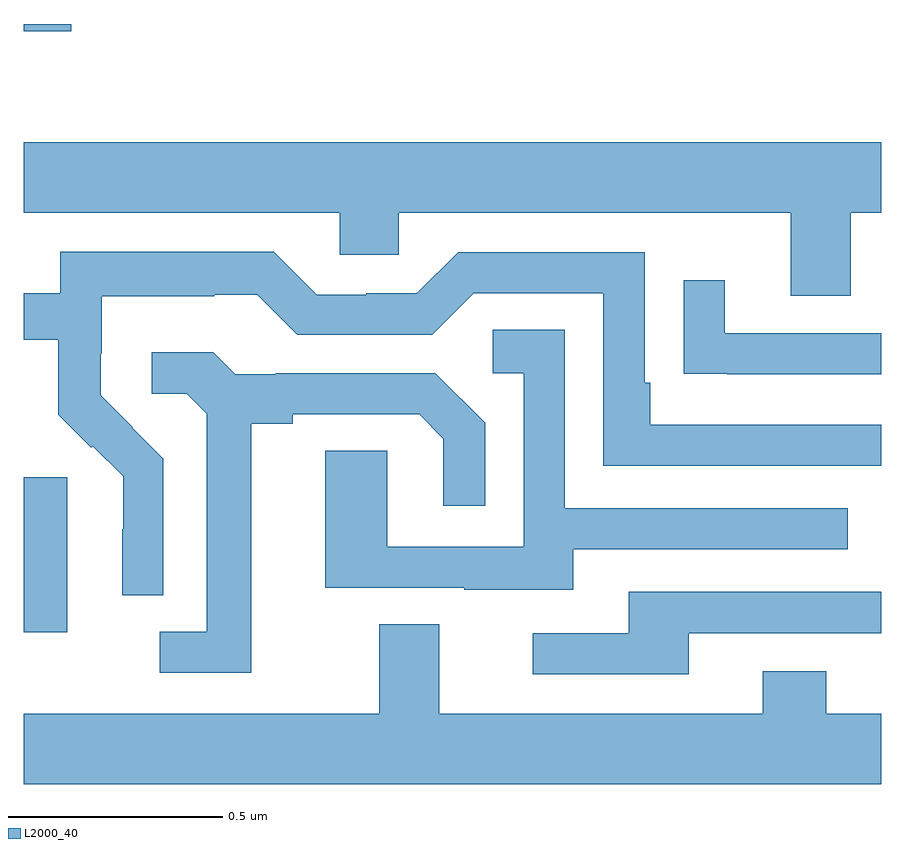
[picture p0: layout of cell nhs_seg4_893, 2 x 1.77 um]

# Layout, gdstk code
import gdstk
lib = gdstk.Library(unit=1e-6, precision=1e-09)
def R(c, l, rs):  # rectangles x0, y0, x1, y1
    for r in rs: c.add(gdstk.rectangle(r[:2], r[2:], *l))
def P(c, l, *ps):  # polygons
    for p in ps: c.add(gdstk.Polygon(p, *l))
L2000_40 = (2000, 40)

nhs_seg4_893 = lib.new_cell('nhs_seg4_893')
R(nhs_seg4_893, L2000_40, [(121,822.482,121.102,822.843), (121,823.883,121.111,823.9)])
P(nhs_seg4_893, L2000_40, [(122.929,823.46),(123,823.46),(123,823.624),(121,823.624),(121,823.46),(121.737,823.46),(121.737,823.362),(121.875,823.362),(121.875,823.46),(122.789,823.46),(122.789,823.266),(122.929,823.266)],
  [(121.326,822.886),(121.253,822.959),(121.254,822.96),(121.18,823.034),(121.18,823.131),(121.182,823.131),(121.182,823.265),(121.445,823.265),(121.445,823.269),(121.545,823.269),(121.638,823.176),(121.953,823.176),(122.049,823.272),(122.352,823.272),(122.352,822.87),(123,822.87),(123,822.966),(122.461,822.966),(122.461,823.063),(122.448,823.063),(122.448,823.368),(122.013,823.368),(121.917,823.272),(121.799,823.272),(121.799,823.269),(121.683,823.269),(121.583,823.369),(121.086,823.369),(121.086,823.272),(121,823.272),(121,823.164),(121.081,823.164),(121.081,822.989),(121.158,822.912),(121.161,822.915),(121.232,822.845),(121.232,822.722),(121.23,822.722),(121.23,822.568),(121.326,822.568)],
  [(123,823.179),(122.635,823.179),(122.635,823.303),(122.539,823.303),(122.539,823.084),(122.641,823.084),(122.641,823.083),(123,823.083)],
  [(122.281,822.675),(122.921,822.675),(122.921,822.771),(122.262,822.771),(122.262,823.187),(122.094,823.187),(122.094,823.086),(122.166,823.086),(122.166,822.681),(121.848,822.681),(121.848,822.905),(121.703,822.905),(121.703,822.585),(122.027,822.585),(122.027,822.581),(122.281,822.581)],
  [(121.531,822.968),(121.627,822.968),(121.627,822.99),(121.922,822.99),(121.979,822.933),(121.979,822.777),(122.076,822.777),(122.076,822.97),(121.96,823.086),(121.588,823.086),(121.588,823.083),(121.494,823.083),(121.442,823.135),(121.299,823.135),(121.299,823.038),(121.38,823.038),(121.427,822.991),(121.427,822.483),(121.317,822.483),(121.317,822.387),(121.531,822.387)],
  [(122.551,822.48),(123,822.48),(123,822.576),(122.411,822.576),(122.411,822.48),(122.187,822.48),(122.187,822.384),(122.551,822.384)],
  [(123,822.292),(122.871,822.292),(122.871,822.391),(122.723,822.391),(122.723,822.292),(121.969,822.292),(121.969,822.5),(121.829,822.5),(121.829,822.292),(121,822.292),(121,822.128),(123,822.128)])

lib.write_gds('nhs_seg4_893.gds')
